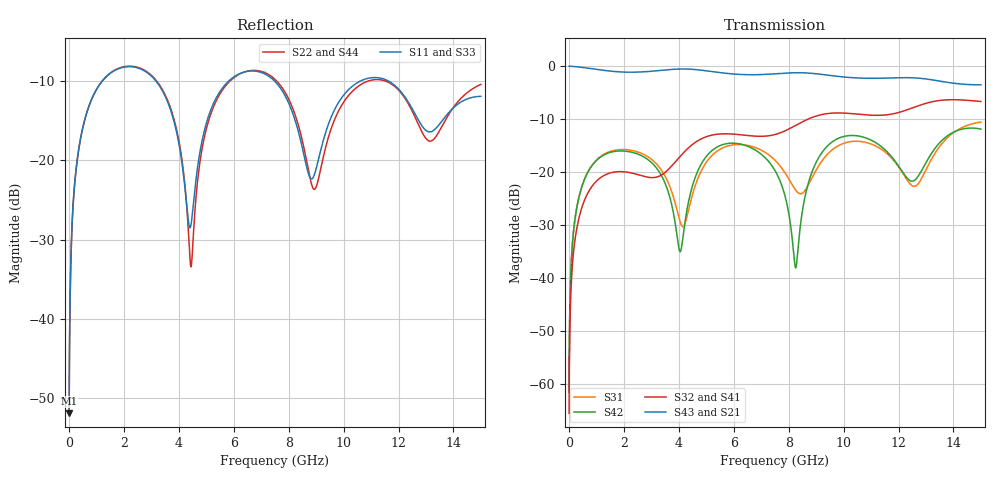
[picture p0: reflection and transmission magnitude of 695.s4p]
! Created with skrf 1.8.0 (http://scikit-rf.org).
# GHz S RI R 50.0
!freq ReS11 ImS11 ReS12 ImS12 ReS13 ImS13
! ReS14 ImS14
! ReS21 ImS21 ReS22 ImS22 ReS23 ImS23
! ReS24 ImS24
! ReS31 ImS31 ReS32 ImS32 ReS33 ImS33
! ReS34 ImS34
! ReS41 ImS41 ReS42 ImS42 ReS43 ImS43
! ReS44 ImS44
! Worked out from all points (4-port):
!   2499 points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, 5 MHz to 15 GHz, reference 50 ohm
!   strongest paths, dB at 5 MHz, 3.476 GHz, 7.19 GHz, 11.1 GHz, 15 GHz:
!     S43: 0.0, -0.7, -1.6, -2.3, -3.5
!     S21: 0.0, -0.7, -1.6, -2.3, -3.5
!     S32: -65.6, -20.2, -13.2, -9.3, -6.7
!     S41: -65.6, -20.2, -13.3, -9.3, -6.7
!     S42: -61.6, -21.9, -17.6, -14.3, -11.9
!     S31: -61.6, -20.6, -16.5, -14.9, -10.6
!   lowest |S11| = -51.9 dB at 5 MHz (marker M1), VSWR 1.01, Z = 50.2 + j0.154 ohm
!   |S11| at or under -10 dB: 3.168 GHz to 5.817 GHz (2.649 GHz wide, 59 % of centre); 7.486 GHz to 10.61 GHz (3.128 GHz wide, 34.6 % of centre); 11.63 GHz to end of sweep (the widest 3 of 4)
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0.005  0.00202 0.00153  0.9979 -0.00393  0.000104 0.000822  -0.0001 -0.000513
       0.9979 -0.00393  0.00202 0.00153  -0.0001 -0.000513  0.000103 0.000822
       0.000104 0.000822  -0.0001 -0.000513  0.00202 0.00153  0.9979 -0.00393
       -0.0001 -0.000513  0.000103 0.000822  0.9979 -0.00393  0.00202 0.00153
0.2626094  0.0263 0.0847  0.9642 -0.2058  0.0125 0.0407  -0.0101 -0.0251
           0.9642 -0.2058  0.0265 0.0847  -0.0101 -0.0251  0.0118 0.0409
           0.0125 0.0407  -0.0101 -0.0251  0.0263 0.0847  0.9642 -0.2058
           -0.0101 -0.0251  0.0118 0.0409  0.9642 -0.2058  0.0265 0.0847
1.269279  0.2722 0.1764  0.5418 -0.7322  0.1353 0.0569  -0.0921 -0.00501
          0.5418 -0.7322  0.2748 0.1747  -0.0922 -0.00495  0.1279 0.0672
          0.1353 0.0569  -0.0922 -0.00495  0.2722 0.1764  0.5418 -0.7322
          -0.0921 -0.00501  0.1279 0.0672  0.5418 -0.7322  0.2748 0.1747
4.345561  0.0377 -0.0179  -0.9283 -0.1232  -0.024 0.0354  -0.0189 0.167
          -0.9283 -0.1232  0.0219 -0.0287  -0.0182 0.1672  0.0225 0.0457
          -0.024 0.0354  -0.0182 0.1672  0.0368 -0.019  -0.9283 -0.1233
          -0.0189 0.167  0.0225 0.0457  -0.9283 -0.1233  0.0231 -0.0295
8.897457  0.0777 0.0095  0.8425 0.1237  -0.0287 0.0882  0.0413 -0.3278
          0.8425 0.1237  0.0648 -0.0135  0.0373 -0.328  0.0249 0.1044
          -0.0287 0.0882  0.0373 -0.328  0.0805 0.0111  0.8428 0.1216
          0.0413 -0.3278  0.0249 0.1044  0.8428 0.1216  0.0619 -0.0121
11.67987  0.3042 -0.0728  -0.1057 -0.7657  0.0637 -0.1257  -0.3377 0.0863
          -0.1057 -0.7657  0.3004 -0.0655  -0.337 0.0918  0.0663 -0.1298
          0.0637 -0.1257  -0.337 0.0918  0.3049 -0.0715  -0.1087 -0.7648
          -0.3377 0.0863  0.0663 -0.1298  -0.1087 -0.7648  0.3012 -0.0691
15  0.2527 -0.0174  -0.4602 0.4839  0.2948 -0.00531  0.3967 0.2349
    -0.4602 0.4839  0.3005 0.0217  0.4015 0.2299  0.2404 0.0809
    0.2948 -0.00531  0.4015 0.2299  0.2571 -0.0158  -0.4536 0.4865
    0.3967 0.2349  0.2404 0.0809  -0.4536 0.4865  0.309 0.0254
